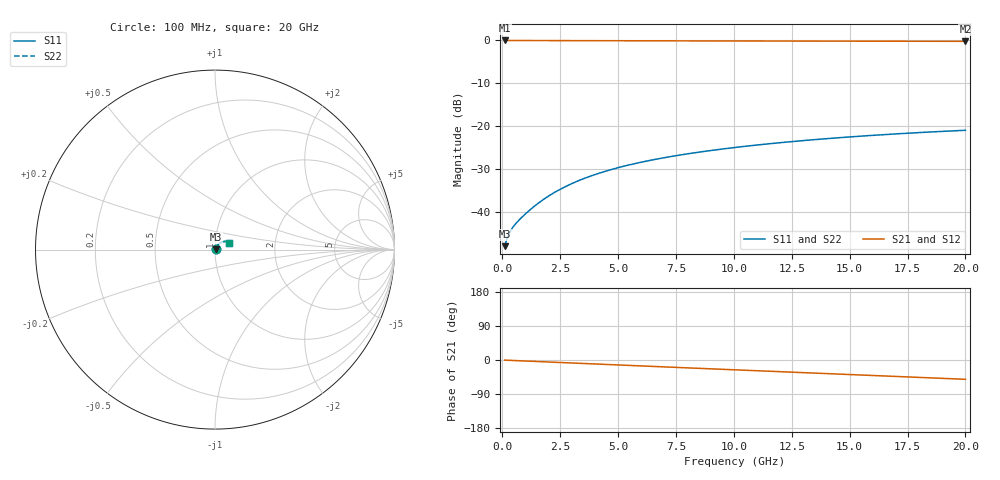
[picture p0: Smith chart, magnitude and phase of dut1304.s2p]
! Touchstone file exported from HFSS 2026.1.0
!  File:  C:/ffzhzh/LocalFiles/Ansys_Project_Files/temp_train_TMRDL_1304_1783164735_18472.aedt
!  Generated:  07:33:42 PM Jul  4, 2026
!  Design:  TMRDL
!  Project:  temp_train_TMRDL_1304_1783164735_18472
! Variables:
!  h_bsmrdl = 2um
!  h_ox = 20um
!  h_rdl = 5um
!  h_sub = 80um
!  h_tmrdl = 4.13um
!  h_tsv = 80um
!  h_via = 3um
!  l_bsmrdl = 300um
!  l_sub = 1310.96um
!  l_tmrdl = 910.96um
!  m_sub = 200um
!  pitch = 28.48um
!  r_tsv = 6um
!  s_tmrdl = 10um
!  w_bsmrdl = 18um
!  w_sub = 500um
!  w_tmrdl = 22.37um
!  x_tsv_center1 = 922.145um
!  x_tsv_center2 = 1240.145um
!  x_tsv_center3 = 2173.475um
!  x_tsv_center4 = 2491.475um
!  x_tsv_center5 = 3424.805um
!  x_tsv_center6 = 3742.805um
# GHz S MA R 50.000000
! Terminal data exported
! Port[1] = TM_RDL1_1_T1
! Port[2] = TM_RDL1_1_T2
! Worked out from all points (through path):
!   200 points, 100 MHz to 20 GHz, reference 50 ohm
!   highest |S21| = -0.03 dB at 100 MHz (marker M1); lowest = -0.2 dB at 20 GHz (marker M2)
!   group delay of S21, straight-line fit = 7.05 ps
!   lowest |S11| = -47.9 dB at 100 MHz (marker M3), VSWR 1.01, Z = 50.4 + j0.134 ohm
!   |S11| at or under -10 dB: start of sweep to end of sweep
!   |S22| runs from -47.9 to -20.9 dB; largest |S21 - S12| = 5.4e-15
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0.1  0.004023 19.4  0.9962 -0.3  0.9962 -0.3  0.004023 19.4
! Gamma 0 0 0 0
! Port Impedance 50 0 50 0
0.2  0.004887 29.1  0.9958 -0.6  0.9958 -0.6  0.004887 29.1
0.3  0.005688 33.6  0.9953 -0.9  0.9953 -0.9  0.005688 33.6
0.4  0.006352 36.5  0.995 -1.1  0.995 -1.1  0.006352 36.5
0.5  0.006927 38.9  0.9947 -1.4  0.9947 -1.4  0.006928 38.9
0.7  0.007978 43.4  0.9944 -1.9  0.9944 -1.9  0.007979 43.4
0.9  0.009025 47.3  0.9942 -2.4  0.9942 -2.4  0.009025 47.3
1.2  0.01067 52.0  0.9939 -3.2  0.9939 -3.2  0.01067 52.0
1.7  0.0136 56.9  0.9934 -4.5  0.9934 -4.5  0.0136 56.9
2.2  0.01664 59.3  0.9929 -5.8  0.9929 -5.8  0.01664 59.3
2.8  0.02029 60.5  0.9922 -7.4  0.9922 -7.4  0.0203 60.5
3.5  0.02448 60.5  0.9912 -9.2  0.9912 -9.2  0.02448 60.5
4.2  0.02852 59.8  0.9902 -11.1  0.9902 -11.1  0.02853 59.7
5  0.03294 58.5  0.989 -13.1  0.989 -13.1  0.03295 58.4
5.9  0.03766 56.7  0.9877 -15.4  0.9877 -15.4  0.03767 56.7
6.8  0.04213 54.9  0.9864 -17.7  0.9864 -17.7  0.04214 54.8
8.3  0.04912 51.7  0.9844 -21.5  0.9844 -21.5  0.04913 51.6
10.1  0.05686 47.8  0.9823 -26.1  0.9823 -26.1  0.05687 47.8
11.7  0.06325 44.4  0.9805 -30.1  0.9805 -30.1  0.06327 44.3
13.4  0.06958 40.7  0.9788 -34.4  0.9788 -34.4  0.0696 40.6
16.7  0.08056 33.5  0.9759 -42.7  0.9759 -42.7  0.08059 33.3
20  0.08977 26.1  0.9733 -50.9  0.9733 -50.9  0.0898 26.0
